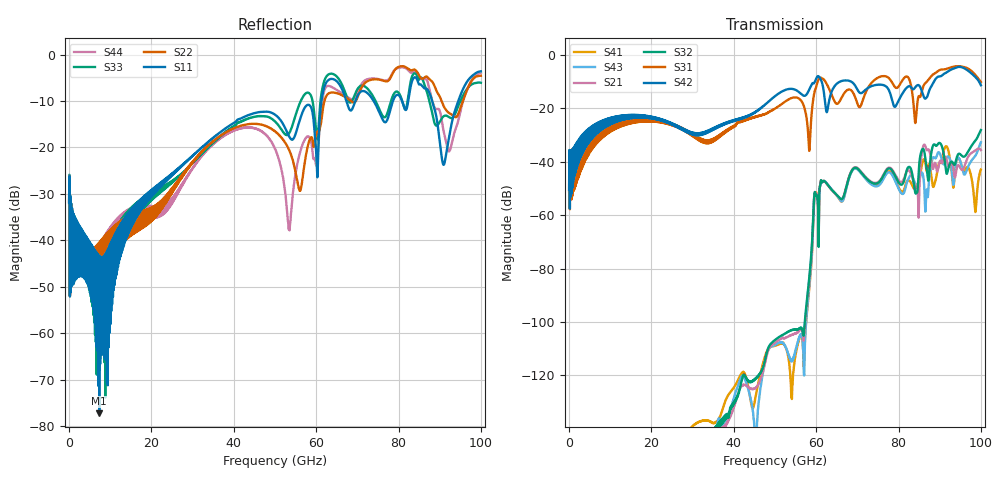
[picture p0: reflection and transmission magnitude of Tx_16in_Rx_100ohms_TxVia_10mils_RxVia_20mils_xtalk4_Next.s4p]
! Info: Touchstone file created by Circ.  Input file=Tx_16in_Rx_100ohms_TxVia_10mils_RxVia_20mils1.circ
# Hz S RI R 50
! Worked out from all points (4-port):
!   10000 points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, 10 MHz to 100 GHz, reference 50 ohm
!   strongest paths, dB at 10 MHz, 25.01 GHz, 50.01 GHz, 75.01 GHz, 100 GHz:
!     S42: -50.5, -26.1, -15.4, -11.1, -11.3
!     S31: -51.1, -26.3, -20.1, -8.5, -10.1
!     S32: -, -164.7, -106.7, -47.9, -28.1
!     S21: -, -163.6, -107.7, -47.6, -35.6
!     S43: -155.5, -155.3, -108.5, -49.1, -32.7
!     S41: -154.8, -152.1, -108.9, -48.8, -42.9
!   lowest |S11| = -77.2 dB at 7.33 GHz (marker M1), VSWR 1.00, Z = 50 + j0.00551 ohm
!   |S11| at or under -10 dB: start of sweep to 61.28 GHz; 73.97 GHz to 78.64 GHz (4.673 GHz wide, 6.12 % of centre); 88.17 GHz to 94.51 GHz (6.335 GHz wide, 6.94 % of centre) (the widest 3 of 5)
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1e7  0.024 0.0087  7.66e-12 -1.37e-11  0.000604 0.00272  -5.37e-09 1.73e-08
     7.66e-12 -1.37e-11  0.0247 0.0087  4.92e-12 -1.44e-11  0.00116 0.00275
     0.000604 0.00272  4.92e-12 -1.44e-11  0.0232 0.00922  -3.12e-09 1.64e-08
     -5.37e-09 1.73e-08  0.00116 0.00275  -3.12e-09 1.64e-08  0.0245 0.00874
7.33e9  0.000126 5.5e-05  -3.26e-10 -3.68e-10  0.0233 0.0314  1.53e-10 3.77e-10
        -3.26e-10 -3.68e-10  0.00821 0.00481  -8.36e-10 -9.73e-10  0.0346 0.0321
        0.0233 0.0314  -8.36e-10 -9.73e-10  -6.71e-05 0.000391  3.49e-10 -2.33e-10
        1.53e-10 3.77e-10  0.0346 0.0321  3.49e-10 -2.33e-10  0.00726 0.00524
5.806e10  0.1583 -0.2416  2.96e-05 2.19e-05  0.0227 0.0242  1.67e-05 2.01e-05
          2.96e-05 2.19e-05  -0.0661 0.0849  3.56e-05 2.36e-05  0.1212 0.1647
          0.0227 0.0242  3.56e-05 2.36e-05  0.2503 -0.2983  1.98e-05 2.1e-05
          1.67e-05 2.01e-05  0.1212 0.1647  1.98e-05 2.1e-05  -0.1318 -0.00521
6.155e10  0.326 -0.1789  -0.00411 -0.000996  0.3162 0.1771  -0.00412 -0.000874
          -0.00411 -0.000996  -0.1654 -0.1828  -0.00415 -0.000837  0.0831 -0.2662
          0.3162 0.1771  -0.00415 -0.000837  0.3566 -0.2564  -0.00415 -0.000711
          -0.00412 -0.000874  0.0831 -0.2662  -0.00415 -0.000711  -0.2637 -0.2003
8.043e10  0.1747 0.3009  0.00048 0.0042  -0.0401 -0.2864  0.000677 0.00286
          0.00048 0.0042  -0.0906 -0.7407  0.000893 0.00368  -0.1574 0.0396
          -0.0401 -0.2864  0.000893 0.00368  0.172 0.3179  0.000931 0.00258
          0.000677 0.00286  -0.1574 0.0396  0.000931 0.00258  -0.0573 -0.7239
9.098e10  0.00651 0.0648  0.00813 0.00814  0.5364 -0.0115  0.0155 -0.0048
          0.00813 0.00814  0.1669 0.2211  -0.00747 0.0117  0.4399 -0.011
          0.5364 -0.0115  -0.00747 0.0117  0.1707 0.1342  0.00224 0.00863
          0.0155 -0.0048  0.4399 -0.011  0.00224 0.00863  0.087 0.1194
1e11  -0.6579 0.0575  -0.00845 0.0143  0.0543 0.3088  0.00697 0.0016
      -0.00845 0.0143  -0.591 0.0387  -0.0218 -0.0326  0.0989 0.2526
      0.0543 0.3088  -0.0218 -0.0326  -0.4937 0.0607  -0.0207 0.0104
      0.00697 0.0016  0.0989 0.2526  -0.0207 0.0104  -0.6321 0.0866
